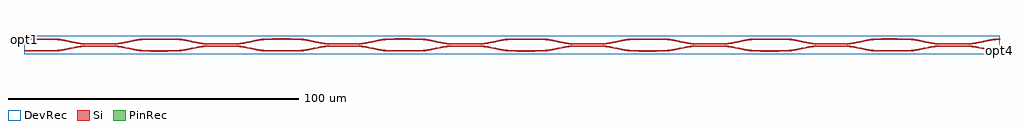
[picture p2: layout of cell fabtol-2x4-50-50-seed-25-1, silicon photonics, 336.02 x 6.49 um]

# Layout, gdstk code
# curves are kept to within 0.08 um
import gdstk
lib = gdstk.Library(unit=1e-6, precision=1e-09)
def R(c, l, rs):  # rectangles x0, y0, x1, y1
    for r in rs: c.add(gdstk.rectangle(r[:2], r[2:], *l))
def P(c, l, *ps):  # polygons
    for p in ps: c.add(gdstk.Polygon(p, *l))
Si = (1, 0)
PinRec = (1, 10)
DevRec = (68, 0)

layer_3_0_phase_sec_0_11 = lib.new_cell('layer-3_0_phase_sec_0$11')
P(layer_3_0_phase_sec_0_11, Si, [(3.884,-0.233),(0,-0.225),(0,0.225),(10,0.225),(10,-0.225)])

layer_0_0_phase_sec_0_11 = lib.new_cell('layer-0_0_phase_sec_0$11')
P(layer_0_0_phase_sec_0_11, Si, [(3.523,-0.229),(0,-0.225),(0,0.225),(10,0.225),(10,-0.225)])

layer_0_0_phase_sec_1_11 = lib.new_cell('layer-0_0_phase_sec_1$11')
P(layer_0_0_phase_sec_1_11, Si, [(4.632,-0.23),(0,-0.225),(0,0.225),(10,0.225),(10,-0.225)])

dc_arm_down_11 = lib.new_cell('dc_arm_down$11')
R(dc_arm_down_11, Si, [(12,-0.55,20,-0.1)])
P(dc_arm_down_11, Si, [(32,-2.225),(30.861,-2.188),(29.344,-2.033),(22.966,-0.793),(21.481,-0.613),(20,-0.55),(20,-0.1),(21.139,-0.137),(22.656,-0.292),(29.034,-1.532),(30.519,-1.712),(32,-1.775)],
  [(0,-2.225),(0,-1.775),(1.481,-1.712),(2.966,-1.532),(9.344,-0.292),(10.861,-0.137),(12,-0.1),(12,-0.55),(10.519,-0.613),(9.034,-0.793),(2.656,-2.033),(1.139,-2.188)])

dc_arm_up_11 = lib.new_cell('dc_arm_up$11')
R(dc_arm_up_11, Si, [(12,0.1,20,0.55)])
P(dc_arm_up_11, Si, [(20,0.1),(20,0.55),(21.481,0.613),(22.966,0.793),(29.344,2.033),(30.861,2.188),(32,2.225),(32,1.775),(30.519,1.712),(29.034,1.532),(22.656,0.292),(21.139,0.137)],
  [(12,0.1),(10.861,0.137),(9.344,0.292),(2.966,1.532),(1.481,1.712),(0,1.775),(0,2.225),(1.139,2.188),(2.656,2.033),(9.034,0.793),(10.519,0.613),(12,0.55)])

dc_11 = lib.new_cell('dc$11')
dc_11.add(gdstk.Reference(dc_arm_down_11, (0,0)))
dc_11.add(gdstk.Reference(dc_arm_up_11, (0,0)))

layer_1_0_phase_sec_2_11 = lib.new_cell('layer-1_0_phase_sec_2$11')
P(layer_1_0_phase_sec_2_11, Si, [(1.415,-0.245),(0,-0.225),(0,0.225),(10,0.225),(10,-0.225)])

layer_0_0_phase_sec_2_11 = lib.new_cell('layer-0_0_phase_sec_2$11')
P(layer_0_0_phase_sec_2_11, Si, [(1.301,-0.236),(0,-0.225),(0,0.225),(10,0.225),(10,-0.225)])

layer_0_0_phase_sec_3_11 = lib.new_cell('layer-0_0_phase_sec_3$11')
P(layer_0_0_phase_sec_3_11, Si, [(6.005,-0.244),(0,-0.225),(0,0.225),(10,0.225),(10,-0.225)])

layer_3_0_phase_sec_1_11 = lib.new_cell('layer-3_0_phase_sec_1$11')
P(layer_3_0_phase_sec_1_11, Si, [(7.905,-0.244),(0,-0.225),(0,0.225),(10,0.225),(10,-0.225)])

layer_2_0_phase_sec_0_11 = lib.new_cell('layer-2_0_phase_sec_0$11')
P(layer_2_0_phase_sec_0_11, Si, [(1.324,-0.231),(0,-0.225),(0,0.225),(10,0.225),(10,-0.225)])

layer_1_0_phase_sec_0_11 = lib.new_cell('layer-1_0_phase_sec_0$11')
P(layer_1_0_phase_sec_0_11, Si, [(6.241,-0.247),(0,-0.225),(0,0.225),(10,0.225),(10,-0.225)])

layer_3_0_phase_sec_2_11 = lib.new_cell('layer-3_0_phase_sec_2$11')
P(layer_3_0_phase_sec_2_11, Si, [(4,-0.245),(0,-0.225),(0,0.225),(10,0.225),(10,-0.225)])

layer_1_0_phase_sec_1_11 = lib.new_cell('layer-1_0_phase_sec_1$11')
P(layer_1_0_phase_sec_1_11, Si, [(4.437,-0.232),(0,-0.225),(0,0.225),(10,0.225),(10,-0.225)])

layer_1_0_phase_sec_3_11 = lib.new_cell('layer-1_0_phase_sec_3$11')
P(layer_1_0_phase_sec_3_11, Si, [(1.067,-0.233),(0,-0.225),(0,0.225),(10,0.225),(10,-0.225)])

layer_2_0_phase_sec_1_11 = lib.new_cell('layer-2_0_phase_sec_1$11')
P(layer_2_0_phase_sec_1_11, Si, [(3.14,-0.246),(0,-0.225),(0,0.225),(10,0.225),(10,-0.225)])

layer_3_0_phase_sec_3_11 = lib.new_cell('layer-3_0_phase_sec_3$11')
P(layer_3_0_phase_sec_3_11, Si, [(2.19,-0.234),(0,-0.225),(0,0.225),(10,0.225),(10,-0.225)])

layer_2_0_phase_sec_2_11 = lib.new_cell('layer-2_0_phase_sec_2$11')
P(layer_2_0_phase_sec_2_11, Si, [(1.205,-0.232),(0,-0.225),(0,0.225),(10,0.225),(10,-0.225)])

layer_2_0_phase_sec_3_11 = lib.new_cell('layer-2_0_phase_sec_3$11')
P(layer_2_0_phase_sec_3_11, Si, [(7.815,-0.245),(0,-0.225),(0,0.225),(10,0.225),(10,-0.225)])

fabtol_2x4_50_50_seed_25 = lib.new_cell('fabtol-2x4-50-50-seed-25-1')
R(fabtol_2x4_50_50_seed_25, DevRec, [(0,-1,336,5.493)])
fabtol_2x4_50_50_seed_25.add(gdstk.FlexPath([(335.99,0.246),(336.01,0.246)], 0.45, ends="flush", simple_path=True, layer=1, datatype=10))  # PinRec
fabtol_2x4_50_50_seed_25.add(gdstk.FlexPath([(335.99,4.246),(336.01,4.246)], 0.45, ends="flush", simple_path=True, layer=1, datatype=10))  # PinRec
fabtol_2x4_50_50_seed_25.add(gdstk.FlexPath([(0.01,4.246),(-0.01,4.246)], 0.45, ends="flush", simple_path=True, layer=1, datatype=10))  # PinRec
fabtol_2x4_50_50_seed_25.add(gdstk.Reference(layer_3_0_phase_sec_0_11, (252,4.246)))
fabtol_2x4_50_50_seed_25.add(gdstk.Reference(layer_0_0_phase_sec_0_11, (0,4.246)))
fabtol_2x4_50_50_seed_25.add(gdstk.Reference(layer_0_0_phase_sec_1_11, (0,0.246)))
fabtol_2x4_50_50_seed_25.add(gdstk.Reference(dc_11, (10,2.246)))
fabtol_2x4_50_50_seed_25.add(gdstk.Reference(dc_11, (52,2.246)))
fabtol_2x4_50_50_seed_25.add(gdstk.Reference(dc_11, (94,2.246)))
fabtol_2x4_50_50_seed_25.add(gdstk.Reference(dc_11, (136,2.246)))
fabtol_2x4_50_50_seed_25.add(gdstk.Reference(dc_11, (178,2.246)))
fabtol_2x4_50_50_seed_25.add(gdstk.Reference(dc_11, (220,2.246)))
fabtol_2x4_50_50_seed_25.add(gdstk.Reference(dc_11, (262,2.246)))
fabtol_2x4_50_50_seed_25.add(gdstk.Reference(dc_11, (304,2.246)))
fabtol_2x4_50_50_seed_25.add(gdstk.Reference(layer_1_0_phase_sec_2_11, (126,4.246)))
fabtol_2x4_50_50_seed_25.add(gdstk.Reference(layer_0_0_phase_sec_2_11, (42,4.246)))
fabtol_2x4_50_50_seed_25.add(gdstk.Reference(layer_0_0_phase_sec_3_11, (42,0.246)))
fabtol_2x4_50_50_seed_25.add(gdstk.Reference(layer_3_0_phase_sec_1_11, (252,0.246)))
fabtol_2x4_50_50_seed_25.add(gdstk.Reference(layer_2_0_phase_sec_0_11, (168,4.246)))
fabtol_2x4_50_50_seed_25.add(gdstk.Reference(layer_1_0_phase_sec_0_11, (84,4.246)))
fabtol_2x4_50_50_seed_25.add(gdstk.Reference(layer_3_0_phase_sec_2_11, (294,4.246)))
fabtol_2x4_50_50_seed_25.add(gdstk.Reference(layer_1_0_phase_sec_1_11, (84,0.246)))
fabtol_2x4_50_50_seed_25.add(gdstk.Reference(layer_1_0_phase_sec_3_11, (126,0.246)))
fabtol_2x4_50_50_seed_25.add(gdstk.Reference(layer_2_0_phase_sec_1_11, (168,0.246)))
fabtol_2x4_50_50_seed_25.add(gdstk.Reference(layer_3_0_phase_sec_3_11, (294,0.246)))
fabtol_2x4_50_50_seed_25.add(gdstk.Reference(layer_2_0_phase_sec_2_11, (210,4.246)))
fabtol_2x4_50_50_seed_25.add(gdstk.Reference(layer_2_0_phase_sec_3_11, (210,0.246)))
fabtol_2x4_50_50_seed_25.add(gdstk.Label('opt4', (336,0.246), layer=1, texttype=10))
fabtol_2x4_50_50_seed_25.add(gdstk.Label('opt3', (336,4.246), layer=1, texttype=10))
fabtol_2x4_50_50_seed_25.add(gdstk.Label('opt1', (0,4.246), layer=1, texttype=10))

lib.write_gds('fabtol-2x4-50-50-seed-25-1.gds')
